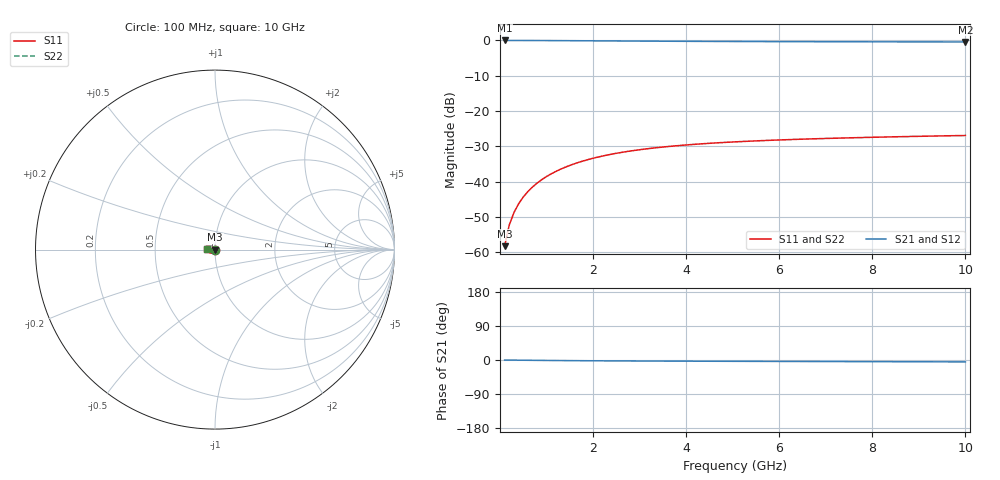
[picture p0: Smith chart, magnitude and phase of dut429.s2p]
! Touchstone file exported from HFSS 2024.1.0
!  File:  C:/UserFiles/LocalFiles/RDL_TSV_Batchsim/temp_TSV1_429_1779694081.aedt
!  Generated:  03:33:48 PM May 25, 2026
!  Design:  TSV1
!  Project:  temp_TSV1_429_1779694081
!  Setup:  Setup1
!  Solution:  Sweep
! Variables:
!  dtsv = 10.49um
!  hbump = 3um
!  htsv = 77.13um
!  lrdl = 252.1521522um
!  p = 40
!  p1 = 50.82um
!  t = 500um
!  trdl = 3um
!  wrdl = 24.89489489um
# GHz S MA R 50.000000
! Terminal data exported
! Port[1] = TSV22_T1
! Port[2] = TSV22_T2
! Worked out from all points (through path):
!   100 points, 100 MHz to 10 GHz, reference 50 ohm
!   highest |S21| = 0.00 dB at 100 MHz (marker M1); lowest = -0.4 dB at 10 GHz (marker M2)
!   lowest |S11| = -58.2 dB at 100 MHz (marker M3), VSWR 1.00, Z = 50 - j0.122 ohm
!   |S11| at or under -10 dB: start of sweep to end of sweep
!   |S22| runs from -58.2 to -26.9 dB; largest |S21 - S12| = 1.1e-14
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0.1  0.001225 -85.8  0.9998 -0.1  0.9998 -0.1  0.001225 -85.8
! Gamma 0 0 0 0
! Port Impedance 50 0 50 0
0.2  0.00244 -90.4  0.9997 -0.2  0.9997 -0.2  0.00244 -90.4
0.3  0.003656 -93.2  0.9995 -0.4  0.9995 -0.4  0.003656 -93.2
0.4  0.004868 -95.5  0.9992 -0.5  0.9992 -0.5  0.004868 -95.5
0.5  0.00607 -97.6  0.9988 -0.6  0.9988 -0.6  0.00607 -97.6
0.6  0.007261 -99.6  0.9984 -0.7  0.9984 -0.7  0.007261 -99.6
0.7  0.008435 -101.5  0.9979 -0.8  0.9979 -0.8  0.008435 -101.5
0.8  0.009591 -103.4  0.9974 -0.9  0.9974 -0.9  0.009591 -103.4
0.9  0.01073 -105.2  0.9968 -1.1  0.9968 -1.1  0.01073 -105.2
1.1  0.01293 -108.8  0.9954 -1.3  0.9954 -1.3  0.01293 -108.8
1.4  0.01603 -113.9  0.9931 -1.6  0.9931 -1.6  0.01603 -113.9
1.6  0.01797 -117.1  0.9915 -1.7  0.9915 -1.7  0.01797 -117.1
1.8  0.01978 -120.2  0.9897 -1.9  0.9897 -1.9  0.01978 -120.2
2.1  0.02229 -124.6  0.987 -2.1  0.987 -2.1  0.02229 -124.6
2.5  0.02525 -129.9  0.9835 -2.4  0.9835 -2.4  0.02525 -129.9
2.9  0.0278 -134.9  0.9801 -2.6  0.9801 -2.6  0.0278 -134.9
3.4  0.0305 -140.4  0.9762 -2.8  0.9762 -2.8  0.0305 -140.4
4.2  0.03392 -148.1  0.9709 -3.2  0.9709 -3.2  0.03392 -148.1
5.1  0.03681 -155.3  0.9661 -3.5  0.9661 -3.5  0.03681 -155.3
6.7  0.04044 -165.7  0.96 -4.0  0.96 -4.0  0.04044 -165.7
8.4  0.04315 -174.5  0.9558 -4.5  0.9558 -4.5  0.04315 -174.5
10  0.04516 178.6  0.953 -5.0  0.953 -5.0  0.04517 178.6
